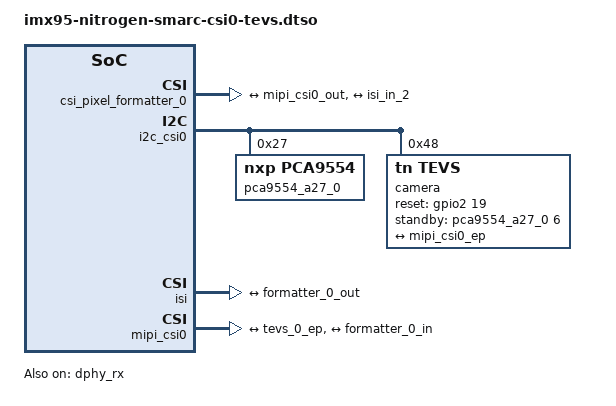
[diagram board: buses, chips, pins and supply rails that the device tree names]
// SPDX-License-Identifier: (GPL-2.0+ OR MIT)
/*
 * Copyright 2024 Ezurio LLC
 */

/dts-v1/;
/plugin/;

#include <dt-bindings/gpio/gpio.h>

#include "imx95-pinfunc.h"

&csi_pixel_formatter_0 {
	status = "okay";

	ports {
		#address-cells = <1>;
		#size-cells = <0>;

		port@0 {
			reg = <0>;

			formatter_0_in: endpoint {
				remote-endpoint = <&mipi_csi0_out>;
			};
		};

		port@1 {
			reg = <1>;

			formatter_0_out: endpoint {
				remote-endpoint = <&isi_in_2>;
			};
		};
	};
};

&dphy_rx {
	status = "okay";
};

&i2c_csi0 {
	#address-cells = <1>;
	#size-cells = <0>;
	status = "okay";

	pca9554_a27_0: pca9554@27 {
		compatible = "nxp,pca9554";
		pinctrl-names = "default";
		reg = <0x27>;
		gpio-controller;
		#gpio-cells = <2>;
		status = "okay";
		gpio-line-names = "EXPOSURE_TRIG_IN0", "FLASH_OUT0",
				"CAM_SHUTTER0", "XVS0",	"CSI0_PDB",
				"CSI0_INT", "INFO_TRIG_IN0", "CSI0_RST_N";
	};

	camera@48 {
		compatible = "tn,tevs";
		reg = <0x48>;
		pinctrl-names = "default";
		pinctrl-0 = <&pinctrl_csi0_camera>;
		reset-gpios = <&gpio2 19 GPIO_ACTIVE_HIGH>;
		standby-gpios = <&pca9554_a27_0 6 GPIO_ACTIVE_HIGH>;
		data-lanes = <4>;
		data-frequency = <800>;
		continuous-clock = <0>;
		status = "okay";

		port {
			tevs_0_ep: endpoint {
				remote-endpoint = <&mipi_csi0_ep>;
				data-lanes = <1 2 3 4>;
			};
		};
	};
};

&isi {
	status = "okay";

	ports {
		#address-cells = <1>;
		#size-cells = <0>;

		port@2 {
			reg = <2>;

			isi_in_2: endpoint {
				remote-endpoint = <&formatter_0_out>;
			};
		};
	};
};

&mipi_csi0 {
	status = "okay";

	ports {
		#address-cells = <1>;
		#size-cells = <0>;

		port@0 {
			reg = <0>;
			mipi_csi0_ep: endpoint {
				remote-endpoint = <&tevs_0_ep>;
				data-lanes = <1 2 3 4>;
				clock-lanes = <0>;
			};
		};

		port@1 {
			reg = <1>;
				mipi_csi0_out: endpoint {
				remote-endpoint = <&formatter_0_in>;
			};
		};
	};
};

&scmi_iomuxc {
	pinctrl_csi0_camera: csi0-cameragrp {
		fsl,pins = <
			IMX95_PAD_GPIO_IO19__GPIO2_IO_BIT19	0x31e
		>;
	};
};
